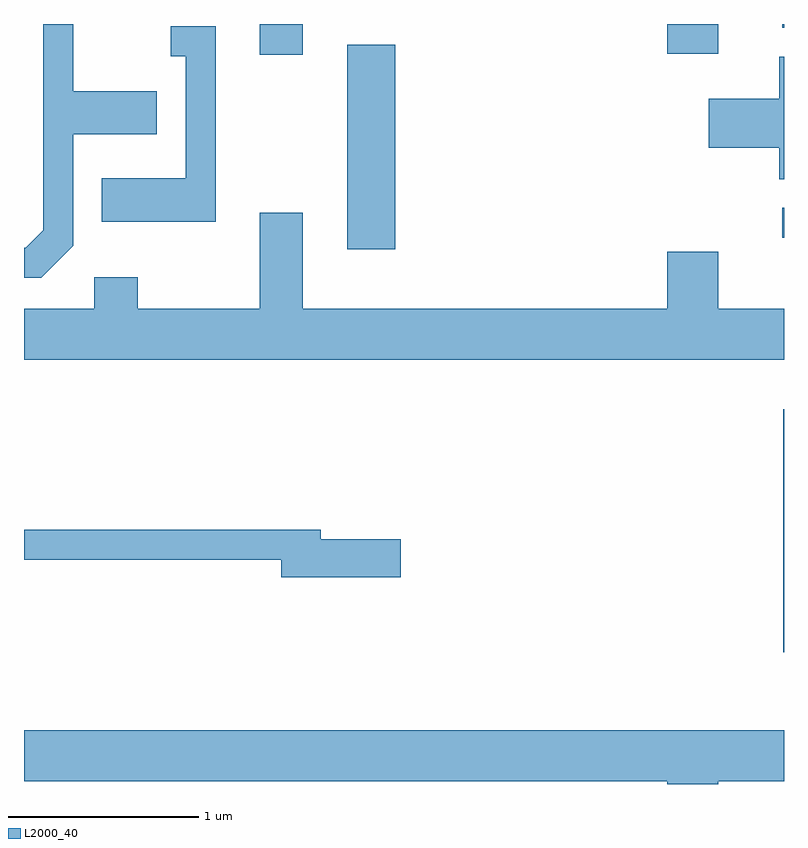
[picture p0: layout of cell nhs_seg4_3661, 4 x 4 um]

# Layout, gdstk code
import gdstk
lib = gdstk.Library(unit=1e-6, precision=1e-09)
def R(c, l, rs):  # rectangles x0, y0, x1, y1
    for r in rs: c.add(gdstk.rectangle(r[:2], r[2:], *l))
def P(c, l, *ps):  # polygons
    for p in ps: c.add(gdstk.Polygon(p, *l))
L2000_40 = (2000, 40)

nhs_seg4_3661 = lib.new_cell('nhs_seg4_3661')
R(nhs_seg4_3661, L2000_40, [(295.606,1368.676,295.611,1369.954), (293.311,1370.796,293.564,1371.874), (295.603,1370.856,295.611,1371.014), (292.851,1371.821,293.079,1371.982), (294.996,1371.826,295.264,1371.982), (295.603,1371.961,295.611,1371.982)])
P(nhs_seg4_3661, L2000_40, [(291.869,1370.814),(291.869,1371.401),(292.309,1371.401),(292.309,1371.629),(291.869,1371.629),(291.869,1371.982),(291.711,1371.982),(291.711,1370.897),(291.619,1370.804),(291.611,1370.804),(291.611,1370.646),(291.702,1370.646)],
  [(292.619,1371.969),(292.383,1371.969),(292.383,1371.811),(292.461,1371.811),(292.461,1371.169),(292.021,1371.169),(292.021,1370.941),(292.619,1370.941)],
  [(295.611,1371.809),(295.586,1371.809),(295.586,1371.589),(295.216,1371.589),(295.216,1371.331),(295.586,1371.331),(295.586,1371.166),(295.611,1371.166)],
  [(295.611,1370.484),(295.264,1370.484),(295.264,1370.784),(294.996,1370.784),(294.996,1370.484),(293.079,1370.484),(293.079,1370.989),(292.851,1370.989),(292.851,1370.484),(292.209,1370.484),(292.209,1370.649),(291.981,1370.649),(291.981,1370.484),(291.611,1370.484),(291.611,1370.216),(295.611,1370.216)],
  [(293.594,1369.269),(293.174,1369.269),(293.174,1369.319),(291.611,1369.319),(291.611,1369.161),(292.966,1369.161),(292.966,1369.071),(293.594,1369.071)],
  [(295.264,1367.996),(295.611,1367.996),(295.611,1368.264),(291.611,1368.264),(291.611,1367.996),(294.996,1367.996),(294.996,1367.982),(295.264,1367.982)])

lib.write_gds('nhs_seg4_3661.gds')
